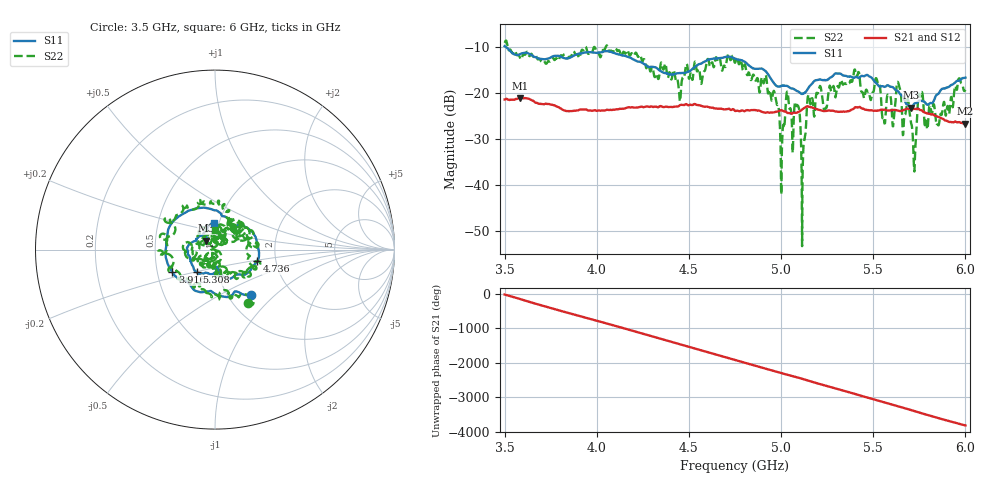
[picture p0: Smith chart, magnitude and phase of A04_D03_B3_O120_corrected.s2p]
! Created with skrf 1.9.0 (http://scikit-rf.org).
# Hz S RI R 50.0
!freq ReS11 ImS11 ReS21 ImS21 ReS12 ImS12 ReS22 ImS22
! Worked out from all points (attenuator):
!   1601 points, 3.5 GHz to 6 GHz, reference 50 ohm
!   highest |S21| = -21.10 dB at 3.586 GHz (marker M1); lowest = -26.7 dB at 5.997 GHz (marker M2)
!   lowest |S11| = -23.3 dB at 5.706 GHz (marker M3), VSWR 1.15, Z = 45.2 + j4.47 ohm
!   |S11| at or under -10 dB: 3.507 GHz to end of sweep
!   |S22| runs from -53.4 to -8.6 dB; largest |S21 - S12| = 0.001
!   S11 on the Smith chart (normalised r, x): 3.5 GHz: 1.27, -0.72; 3.916 GHz: 0.60, -0.16; 4.736 GHz: 1.59, -0.22; 5.308 GHz: 0.79, -0.20; 6 GHz: 0.94, +0.28
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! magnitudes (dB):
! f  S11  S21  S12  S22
! 3.5 GHz  -9.8  -21.5  -21.4  -9.1
! 3.586 GHz  -11.5  -21.1  -21.1  -12.6
! 3.916 GHz  -11.4  -23.7  -23.6  -11.0
! 3.917 GHz  -11.4  -23.6  -23.6  -10.8
! 4.334 GHz  -14.9  -23.1  -23.0  -17.0
! 4.736 GHz  -12.3  -23.6  -23.6  -12.1
! 4.75 GHz  -12.5  -23.9  -23.9  -13.5
! 4.967 GHz  -18.2  -24.2  -24.1  -20.5
! 5.005 GHz  -18.4  -23.8  -23.8  -32.0
! 5.034 GHz  -18.5  -24.4  -24.3  -19.8
! 5.086 GHz  -19.6  -24.3  -24.3  -22.9
! 5.119 GHz  -20.2  -23.5  -23.4  -34.2
! 5.167 GHz  -18.0  -23.2  -23.1  -21.2
! 5.308 GHz  -15.8  -24.1  -24.0  -18.5
! 5.584 GHz  -18.5  -23.8  -23.8  -20.4
! 5.638 GHz  -19.8  -23.9  -23.9  -18.1
! 5.706 GHz  -23.3  -23.5  -23.5  -26.8
! 5.725 GHz  -22.3  -23.5  -23.4  -35.3
! 5.756 GHz  -21.6  -23.8  -23.7  -20.9
! 5.85 GHz  -20.3  -25.2  -25.1  -26.9
! 5.997 GHz  -16.8  -26.7  -26.7  -19.5
! 6 GHz  -16.7  -26.7  -26.7  -19.3
